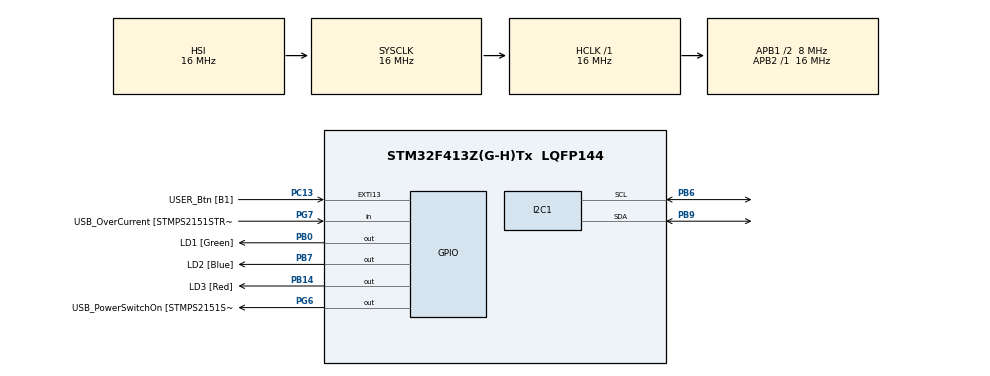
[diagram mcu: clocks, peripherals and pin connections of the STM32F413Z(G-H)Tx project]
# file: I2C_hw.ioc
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Mcu.Family=STM32F4
Mcu.Name=STM32F413Z(G-H)Tx
Mcu.Package=LQFP144
NVIC.PriorityGroup=NVIC_PRIORITYGROUP_4
PA10.GPIO_Label=USB_ID
PA10.Signal=USB_OTG_FS_ID
PA11.GPIO_Label=USB_DM
PA11.Signal=USB_OTG_FS_DM
PA12.GPIO_Label=USB_DP
PA12.Signal=USB_OTG_FS_DP
PA13.GPIO_Label=TMS
PA13.Mode=Trace_Asynchronous_SW
PA13.Signal=SYS_JTMS-SWDIO
PA14.GPIO_Label=TCK
PA14.Mode=Trace_Asynchronous_SW
PA14.Signal=SYS_JTCK-SWCLK
PA8.GPIO_Label=USB_SOF [TP1]
PA8.Signal=USB_OTG_FS_SOF
PA9.GPIO_Label=USB_VBUS
PA9.Signal=USB_OTG_FS_VBUS
PB0.GPIO_Label=LD1 [Green]
PB0.Signal=GPIO_Output
PB14.GPIO_Label=LD3 [Red]
PB14.Signal=GPIO_Output
PB3.GPIO_Label=SWO
PB3.Mode=Trace_Asynchronous_SW
PB3.Signal=SYS_JTDO-SWO
PB6.Mode=I2C
PB6.Signal=I2C1_SCL
PB7.GPIO_Label=LD2 [Blue]
PB7.Signal=GPIO_Output
PB9.Mode=I2C
PB9.Signal=I2C1_SDA
PC13.GPIO_Label=USER_Btn [B1]
PC13.Signal=GPXTI13
PC14-OSC32_IN.Signal=RCC_OSC32_IN
PC15-OSC32_OUT.Signal=RCC_OSC32_OUT
PD8.GPIO_Label=STLK_RX [STM32F103CBT6_PA3]
PD8.Signal=USART3_TX
PD9.GPIO_Label=STLK_TX [STM32F103CBT6_PA2]
PD9.Signal=USART3_RX
PG6.GPIO_Label=USB_PowerSwitchOn [STMPS2151STR_EN]
PG6.Signal=GPIO_Output
PG7.GPIO_Label=USB_OverCurrent [STMPS2151STR_FAULT]
PG7.Signal=GPIO_Input
PH0\ -\ OSC_IN.GPIO_Label=MCO
PH0\ -\ OSC_IN.Signal=RCC_OSC_IN
PH1\ -\ OSC_OUT.Signal=RCC_OSC_OUT
ProjectManager.HeapSize=0x200
ProjectManager.StackSize=0x400
ProjectManager.TargetToolchain=MDK-ARM V5
RCC.48MHZClocksFreq_Value=24000000
RCC.AHBFreq_Value=16000000
RCC.APB1CLKDivider=RCC_HCLK_DIV2
RCC.APB1Freq_Value=8000000
RCC.APB1TimFreq_Value=16000000
RCC.APB2Freq_Value=16000000
RCC.APB2TimFreq_Value=16000000
RCC.CortexFreq_Value=16000000
RCC.HCLKFreq_Value=16000000
RCC.HSE_VALUE=8000000
RCC.HSI_VALUE=16000000
RCC.PLLMUL=RCC_PLL_MUL9
RCC.PRESCALERUSB=RCC_USBCLKSOURCE_PLL_DIV1_5
RCC.SYSCLKFreq_VALUE=16000000
RCC.SYSCLKSourceVirtual=RCC_SYSCLKSOURCE_PLLCLK
RCC.USBFreq_Value=96000000
RCC.VCOOutputFreq_Value=192000000
board=NUCLEO-F413ZH

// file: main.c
/* USER CODE BEGIN Header */
/**
  ******************************************************************************
  * @file           : main.c
  * @brief          : Main program body
  ******************************************************************************
  * @attention
  *
  * <h2><center>&copy; Copyright (c) 2022 STMicroelectronics.
  * All rights reserved.</center></h2>
  *
  * This software component is licensed by ST under BSD 3-Clause license,
  * the "License"; You may not use this file except in compliance with the
  * License. You may obtain a copy of the License at:
  *                        opensource.org/licenses/BSD-3-Clause
  *
  ******************************************************************************
  */
/* USER CODE END Header */
#include "main.h"

I2C_HandleTypeDef hi2c1;

/* USER CODE BEGIN PV */
uint8_t tx_i2c_data_CRA[2] = {0x00, 0x70};
uint8_t tx_i2c_data_CRB[2] = {0x01, 0xA0};
uint8_t tx_i2c_data_M[2] = {0x02, 0x00};
uint8_t tx_i2c_data_adress[1] = {0x03};
uint8_t rx_i2c_data_value[12];
uint8_t buffer[6];
int16_t x = 0;
int16_t y = 0;
int16_t z = 0;
float scale = 2.56;
/* USER CODE END PV */

void SystemClock_Config(void);
static void MX_GPIO_Init(void);
static void MX_I2C1_Init(void);

int main(void)
{

  /* MCU Configuration--------------------------------------------------------*/

  /* Reset of all peripherals, Initializes the Flash interface and the Systick. */
  HAL_Init();

  /* Configure the system clock */
  SystemClock_Config();

  /* Initialize all configured peripherals */
  MX_GPIO_Init();
  MX_I2C1_Init();
  /* USER CODE BEGIN 2 */
	HAL_I2C_Master_Transmit(&hi2c1, 0x3c, tx_i2c_data_CRA, 2, 10);
	HAL_I2C_Master_Transmit(&hi2c1, 0x3c, tx_i2c_data_CRB, 2, 10);
	HAL_I2C_Master_Transmit(&hi2c1, 0x3c, tx_i2c_data_M, 2, 10);
  /* USER CODE END 2 */

  /* Infinite loop */
  /* USER CODE BEGIN WHILE */
  while (1)
  {
		HAL_I2C_Master_Transmit(&hi2c1, 0x3c, tx_i2c_data_adress, 1, 10);
		HAL_I2C_Master_Receive(&hi2c1, 0x3c, rx_i2c_data_value, 6, 10);

		x = (rx_i2c_data_value[1]<<8) | rx_i2c_data_value[0];
		y = (rx_i2c_data_value[3]<<8) | rx_i2c_data_value[2];
		z = (rx_i2c_data_value[5]<<8) | rx_i2c_data_value[4];

		HAL_Delay(67);
    /* USER CODE END WHILE */

  }
}

void SystemClock_Config(void)
{
  RCC_OscInitTypeDef RCC_OscInitStruct = {0};
  RCC_ClkInitTypeDef RCC_ClkInitStruct = {0};

  /** Configure the main internal regulator output voltage
  */
  __HAL_RCC_PWR_CLK_ENABLE();
  __HAL_PWR_VOLTAGESCALING_CONFIG(PWR_REGULATOR_VOLTAGE_SCALE1);
  /** Initializes the RCC Oscillators according to the specified parameters
  * in the RCC_OscInitTypeDef structure.
  */
  RCC_OscInitStruct.OscillatorType = RCC_OSCILLATORTYPE_HSI;
  RCC_OscInitStruct.HSIState = RCC_HSI_ON;
  RCC_OscInitStruct.HSICalibrationValue = RCC_HSICALIBRATION_DEFAULT;
  RCC_OscInitStruct.PLL.PLLState = RCC_PLL_NONE;
  if (HAL_RCC_OscConfig(&RCC_OscInitStruct) != HAL_OK)
  {
    Error_Handler();
  }
  /** Initializes the CPU, AHB and APB buses clocks
  */
  RCC_ClkInitStruct.ClockType = RCC_CLOCKTYPE_HCLK|RCC_CLOCKTYPE_SYSCLK
                              |RCC_CLOCKTYPE_PCLK1|RCC_CLOCKTYPE_PCLK2;
  RCC_ClkInitStruct.SYSCLKSource = RCC_SYSCLKSOURCE_HSI;
  RCC_ClkInitStruct.AHBCLKDivider = RCC_SYSCLK_DIV1;
  RCC_ClkInitStruct.APB1CLKDivider = RCC_HCLK_DIV2;
  RCC_ClkInitStruct.APB2CLKDivider = RCC_HCLK_DIV1;

  if (HAL_RCC_ClockConfig(&RCC_ClkInitStruct, FLASH_LATENCY_0) != HAL_OK)
  {
    Error_Handler();
  }
}

static void MX_I2C1_Init(void)
{

  hi2c1.Instance = I2C1;
  hi2c1.Init.ClockSpeed = 100000;
  hi2c1.Init.DutyCycle = I2C_DUTYCYCLE_2;
  hi2c1.Init.OwnAddress1 = 0;
  hi2c1.Init.AddressingMode = I2C_ADDRESSINGMODE_7BIT;
  hi2c1.Init.DualAddressMode = I2C_DUALADDRESS_DISABLE;
  hi2c1.Init.OwnAddress2 = 0;
  hi2c1.Init.GeneralCallMode = I2C_GENERALCALL_DISABLE;
  hi2c1.Init.NoStretchMode = I2C_NOSTRETCH_DISABLE;
  if (HAL_I2C_Init(&hi2c1) != HAL_OK)
  {
    Error_Handler();
  }

}

static void MX_GPIO_Init(void)
{
  GPIO_InitTypeDef GPIO_InitStruct = {0};

  /* GPIO Ports Clock Enable */
  __HAL_RCC_GPIOC_CLK_ENABLE();
  __HAL_RCC_GPIOH_CLK_ENABLE();
  __HAL_RCC_GPIOB_CLK_ENABLE();
  __HAL_RCC_GPIOD_CLK_ENABLE();
  __HAL_RCC_GPIOG_CLK_ENABLE();
  __HAL_RCC_GPIOA_CLK_ENABLE();

  /*Configure GPIO pin Output Level */
  HAL_GPIO_WritePin(GPIOB, LD1_Pin|LD3_Pin|LD2_Pin, GPIO_PIN_RESET);

  /*Configure GPIO pin Output Level */
  HAL_GPIO_WritePin(USB_PowerSwitchOn_GPIO_Port, USB_PowerSwitchOn_Pin, GPIO_PIN_RESET);

  /*Configure GPIO pin : USER_Btn_Pin */
  GPIO_InitStruct.Pin = USER_Btn_Pin;
  GPIO_InitStruct.Mode = GPIO_MODE_IT_RISING;
  GPIO_InitStruct.Pull = GPIO_NOPULL;
  HAL_GPIO_Init(USER_Btn_GPIO_Port, &GPIO_InitStruct);

  /*Configure GPIO pins : LD1_Pin LD3_Pin LD2_Pin */
  GPIO_InitStruct.Pin = LD1_Pin|LD3_Pin|LD2_Pin;
  GPIO_InitStruct.Mode = GPIO_MODE_OUTPUT_PP;
  GPIO_InitStruct.Pull = GPIO_NOPULL;
  GPIO_InitStruct.Speed = GPIO_SPEED_FREQ_LOW;
  HAL_GPIO_Init(GPIOB, &GPIO_InitStruct);

  /*Configure GPIO pins : STLK_RX_Pin STLK_TX_Pin */
  GPIO_InitStruct.Pin = STLK_RX_Pin|STLK_TX_Pin;
  GPIO_InitStruct.Mode = GPIO_MODE_AF_PP;
  GPIO_InitStruct.Pull = GPIO_NOPULL;
  GPIO_InitStruct.Speed = GPIO_SPEED_FREQ_VERY_HIGH;
  GPIO_InitStruct.Alternate = GPIO_AF7_USART3;
  HAL_GPIO_Init(GPIOD, &GPIO_InitStruct);

  /*Configure GPIO pin : USB_PowerSwitchOn_Pin */
  GPIO_InitStruct.Pin = USB_PowerSwitchOn_Pin;
  GPIO_InitStruct.Mode = GPIO_MODE_OUTPUT_PP;
  GPIO_InitStruct.Pull = GPIO_NOPULL;
  GPIO_InitStruct.Speed = GPIO_SPEED_FREQ_LOW;
  HAL_GPIO_Init(USB_PowerSwitchOn_GPIO_Port, &GPIO_InitStruct);

  /*Configure GPIO pin : USB_OverCurrent_Pin */
  GPIO_InitStruct.Pin = USB_OverCurrent_Pin;
  GPIO_InitStruct.Mode = GPIO_MODE_INPUT;
  GPIO_InitStruct.Pull = GPIO_NOPULL;
  HAL_GPIO_Init(USB_OverCurrent_GPIO_Port, &GPIO_InitStruct);

  /*Configure GPIO pins : USB_SOF_Pin USB_ID_Pin USB_DM_Pin USB_DP_Pin */
  GPIO_InitStruct.Pin = USB_SOF_Pin|USB_ID_Pin|USB_DM_Pin|USB_DP_Pin;
  GPIO_InitStruct.Mode = GPIO_MODE_AF_PP;
  GPIO_InitStruct.Pull = GPIO_NOPULL;
  GPIO_InitStruct.Speed = GPIO_SPEED_FREQ_VERY_HIGH;
  GPIO_InitStruct.Alternate = GPIO_AF10_OTG_FS;
  HAL_GPIO_Init(GPIOA, &GPIO_InitStruct);

}

void Error_Handler(void)
{
  __disable_irq();
  while (1)
  {
  }
}

/************************ (C) COPYRIGHT STMicroelectronics *****END OF FILE****/
